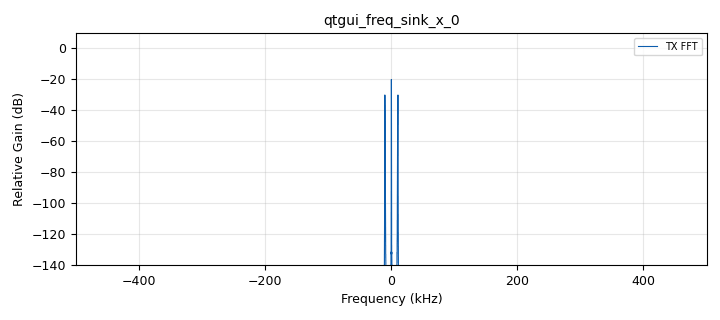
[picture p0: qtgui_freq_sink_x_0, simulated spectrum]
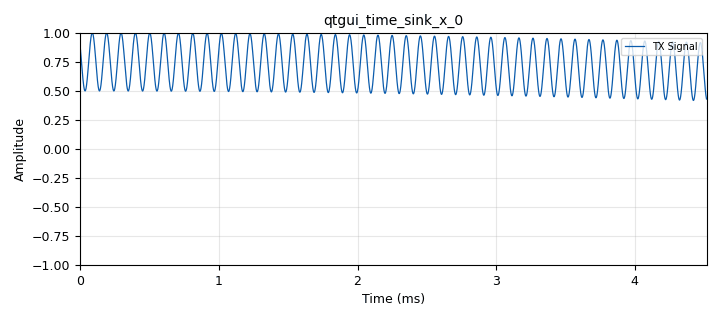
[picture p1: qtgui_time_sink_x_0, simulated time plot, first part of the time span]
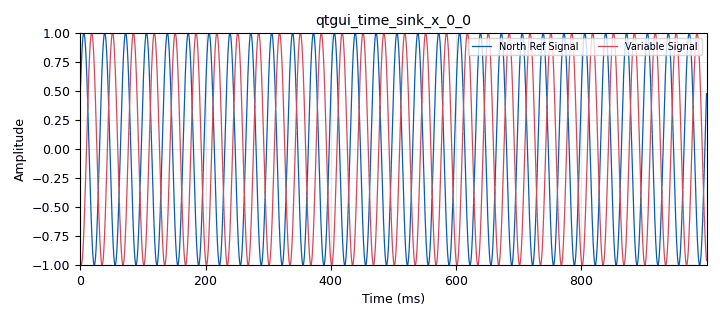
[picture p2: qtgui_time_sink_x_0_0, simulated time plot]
options:
  parameters:
    generate_options: qt_gui
    id: vor_station_144
    output_language: python
    title: VOR STATION 144MHZ
  states: {}

blocks:
- name: carrier_freq
  id: variable_qtgui_range
  parameters:
    orient: Qt.Horizontal
    start: '143900000'
    step: '10'
    stop: '144100000'
    value: '144000000'
  states: {}
- name: freq_b
  id: variable
  parameters:
    value: '30'
  states: {}
- name: output_gain
  id: variable_qtgui_range
  parameters:
    orient: Qt.Horizontal
    start: '0.0'
    step: '0.01'
    stop: '1.0'
    value: '1'
  states: {}
- name: radial
  id: variable_qtgui_range
  parameters:
    orient: Qt.Horizontal
    start: '0'
    step: '0.5'
    stop: '360'
    value: '45'
  states: {}
- name: samp_rate
  id: variable
  parameters:
    value: '1000000'
  states: {}
- name: analog_nbfm_tx_0
  id: analog_nbfm_tx
  parameters:
    audio_rate: samp_rate
    fh: '-1.0'
    max_dev: '480'
    quad_rate: samp_rate
    tau: '75e-6'
  states: {}
- name: analog_sig_source_x_0_0_0
  id: analog_sig_source_x
  parameters:
    amp: '1.0'
    freq: '9960'
    offset: '0'
    phase: '0'
    samp_rate: samp_rate
    type: complex
    waveform: analog.GR_SIN_WAVE
  states: {}
- name: analog_sig_source_x_0_0_0_0
  id: analog_sig_source_x
  parameters:
    amp: '1.0'
    freq: freq_b
    offset: '0'
    phase: '0'
    samp_rate: samp_rate
    type: float
    waveform: analog.GR_COS_WAVE
  states: {}
- name: blocks_add_const_vxx_1
  id: blocks_add_const_vxx
  parameters:
    const: '0.5'
    type: float
  states: {}
- name: blocks_add_xx_0
  id: blocks_add_xx
  parameters:
    type: float
  states: {}
- name: blocks_complex_to_float_0
  id: blocks_complex_to_float
  parameters: {}
  states: {}
- name: blocks_delay_0
  id: blocks_delay
  parameters:
    delay: int((samp_rate/freq_b) * ((((-1*radial)+180)%360)/360))
    type: float
  states: {}
- name: blocks_float_to_complex_0
  id: blocks_float_to_complex
  parameters: {}
  states: {}
- name: blocks_multiply_const_vxx_0_0
  id: blocks_multiply_const_vxx
  parameters:
    const: '0.5'
    type: float
  states: {}
- name: blocks_multiply_const_vxx_0_0_0
  id: blocks_multiply_const_vxx
  parameters:
    const: '0.5'
    type: float
  states: {}
- name: blocks_multiply_const_vxx_0_1
  id: blocks_multiply_const_vxx
  parameters:
    const: '0.5'
    type: float
  states: {}
- name: blocks_multiply_const_vxx_0_1_0
  id: blocks_multiply_const_vxx
  parameters:
    const: output_gain
    type: float
  states: {}
- name: blocks_multiply_xx_0
  id: blocks_multiply_xx
  parameters:
    type: complex
  states: {}
- name: osmosdr_sink_0
  id: osmosdr_sink
  parameters:
    bb_gain0: '0'
    freq0: carrier_freq
    gain0: '0'
    if_gain0: '0'
    sample_rate: samp_rate
    sync: sync
    type: fc32
  states: {}
- name: qtgui_freq_sink_x_0
  id: qtgui_freq_sink_x
  parameters:
    bw: samp_rate
    fc: '0'
    fftsize: '16383'
    label1: TX FFT
    type: float
    wintype: firdes.WIN_BLACKMAN_hARRIS
  states: {}
- name: qtgui_time_sink_x_0
  id: qtgui_time_sink_x
  parameters:
    label1: TX Signal
    size: int(samp_rate/10)
    srate: samp_rate
    type: float
  states: {}
- name: qtgui_time_sink_x_0_0
  id: qtgui_time_sink_x
  parameters:
    label1: North Ref Signal
    label2: Variable Signal
    nconnections: '2'
    size: samp_rate
    srate: samp_rate
    type: float
  states: {}

connections:
- [analog_nbfm_tx_0, '0', blocks_multiply_xx_0, '1']
- [analog_sig_source_x_0_0_0, '0', blocks_multiply_xx_0, '0']
- [analog_sig_source_x_0_0_0_0, '0', blocks_delay_0, '0']
- [analog_sig_source_x_0_0_0_0, '0', blocks_multiply_const_vxx_0_0, '0']
- [analog_sig_source_x_0_0_0_0, '0', qtgui_time_sink_x_0_0, '0']
- [blocks_add_const_vxx_1, '0', blocks_multiply_const_vxx_0_1_0, '0']
- [blocks_add_xx_0, '0', blocks_multiply_const_vxx_0_1, '0']
- [blocks_complex_to_float_0, '0', blocks_multiply_const_vxx_0_0_0, '0']
- [blocks_delay_0, '0', analog_nbfm_tx_0, '0']
- [blocks_delay_0, '0', qtgui_time_sink_x_0_0, '1']
- [blocks_float_to_complex_0, '0', osmosdr_sink_0, '0']
- [blocks_multiply_const_vxx_0_0, '0', blocks_add_xx_0, '0']
- [blocks_multiply_const_vxx_0_0_0, '0', blocks_add_xx_0, '1']
- [blocks_multiply_const_vxx_0_1, '0', blocks_add_const_vxx_1, '0']
- [blocks_multiply_const_vxx_0_1_0, '0', blocks_float_to_complex_0, '0']
- [blocks_multiply_const_vxx_0_1_0, '0', qtgui_freq_sink_x_0, '0']
- [blocks_multiply_const_vxx_0_1_0, '0', qtgui_time_sink_x_0, '0']
- [blocks_multiply_xx_0, '0', blocks_complex_to_float_0, '0']

metadata:
  file_format: 1
